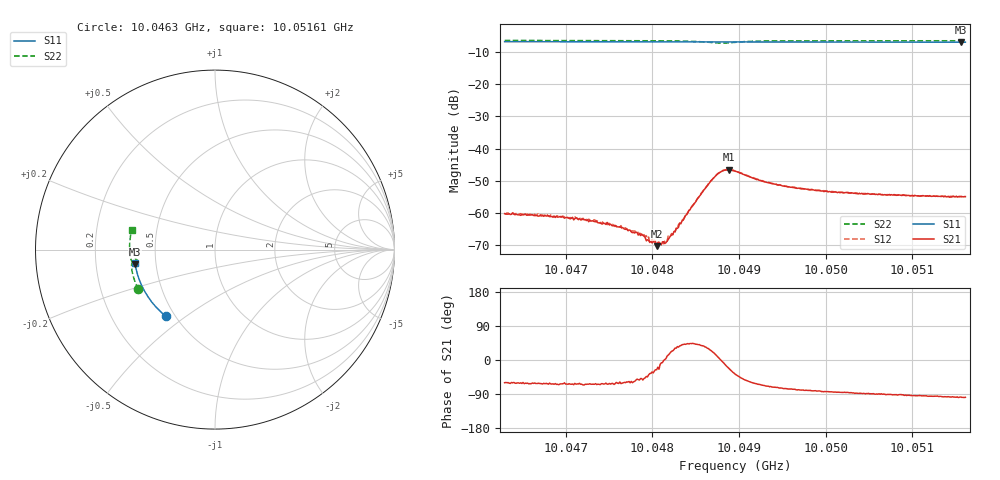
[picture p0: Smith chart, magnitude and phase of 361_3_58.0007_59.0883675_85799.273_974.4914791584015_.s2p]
#  HZ  S  RI  R  50.00
! Rohde & Schwarz Vector Network Analyzer
! Rohde-Schwarz,ZNB20-2Port,1311601062101988,3.16
! Created: UTC 3/21/2024, 1:06:26 AM
! freq[Hz]  re:S11  im:S11  re:S21  im:S21  re:S12  im:S12  re:S22  im:S22
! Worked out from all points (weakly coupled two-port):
!   401 points, 10.0463 GHz to 10.05161 GHz, reference 50 ohm
!   highest |S21| = -46.57 dB at 10.04889 GHz (marker M1); lowest = -70.3 dB at 10.04805 GHz (marker M2)
!   lowest |S11| = -6.9 dB at 10.05156 GHz (marker M3), VSWR 2.65, Z = 19 - j3.81 ohm
!   |S11| at or under -10 dB: nowhere
!   |S22| runs from -7.2 to -6.4 dB; largest |S21 - S12| = 0.0003
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1.0046297e10  -0.2738 -0.3712  0.000489 -0.000843  0.000568 -0.000811  -0.4275 -0.2209
1.0047187e10  -0.3175 -0.3318  0.000352 -0.000716  0.000388 -0.000676  -0.4502 -0.1654
1.004736e10  -0.3255 -0.3237  0.000311 -0.000659  0.000371 -0.000661  -0.4538 -0.1539
1.0047639e10  -0.3377 -0.31  0.000277 -0.000526  0.00035 -0.000528  -0.4589 -0.1349
1.0047825e10  -0.3456 -0.3004  0.000313 -0.00038  0.00033 -0.0004  -0.4616 -0.1218
1.0047892e10  -0.3483 -0.2971  0.000272 -0.000358  0.000329 -0.000288  -0.4625 -0.1169
1.0047958e10  -0.351 -0.2937  0.000291 -0.000237  0.00033 -0.00026  -0.4633 -0.112
1.0048051e10  -0.3548 -0.2888  0.000274 -0.000132  0.00032 -0.000113  -0.4641 -0.1048
1.0048078e10  -0.356 -0.2875  0.000309 -0.000139  0.000346 -7.32e-05  -0.4644 -0.103
1.0048117e10  -0.3574 -0.2855  0.000351 -4.37e-05  0.000357 1.6e-06  -0.4646 -0.0998
1.0048171e10  -0.3595 -0.2825  0.000356 6.26e-05  0.000355 7.49e-05  -0.4649 -0.0955
1.0048264e10  -0.3632 -0.2776  0.000435 0.000266  0.000424 0.000282  -0.465 -0.0877
1.0048582e10  -0.3749 -0.2602  0.00169 0.0013  0.00165 0.00143  -0.4544 -0.059
1.0048715e10  -0.3794 -0.2527  0.00341 0.0011  0.00336 0.00134  -0.4393 -0.0545
1.0048808e10  -0.3825 -0.2477  0.00446 -0.000328  0.00453 -6.83e-05  -0.4315 -0.0637
1.0048888e10  -0.3852 -0.2433  0.0043 -0.00187  0.00443 -0.0016  -0.4362 -0.0734
1.0048954e10  -0.3875 -0.2398  0.00356 -0.00269  0.00377 -0.00249  -0.4445 -0.0759
1.0049313e10  -0.399 -0.2193  0.00109 -0.00282  0.00128 -0.00276  -0.4699 -0.0502
1.0049845e10  -0.414 -0.1875  0.00034 -0.00227  0.000484 -0.00227  -0.4764 -0.00885
1.0050735e10  -0.4334 -0.1324  -2.9e-05 -0.00193  7.55e-05 -0.00192  -0.4738 0.0527
1.0051559e10  -0.4448 -0.0798  -0.00024 -0.00179  -0.000178 -0.00179  -0.4642 0.1069
1.0051612e10  -0.4454 -0.0763  -0.000266 -0.00178  -0.000153 -0.00179  -0.4633 0.1103
